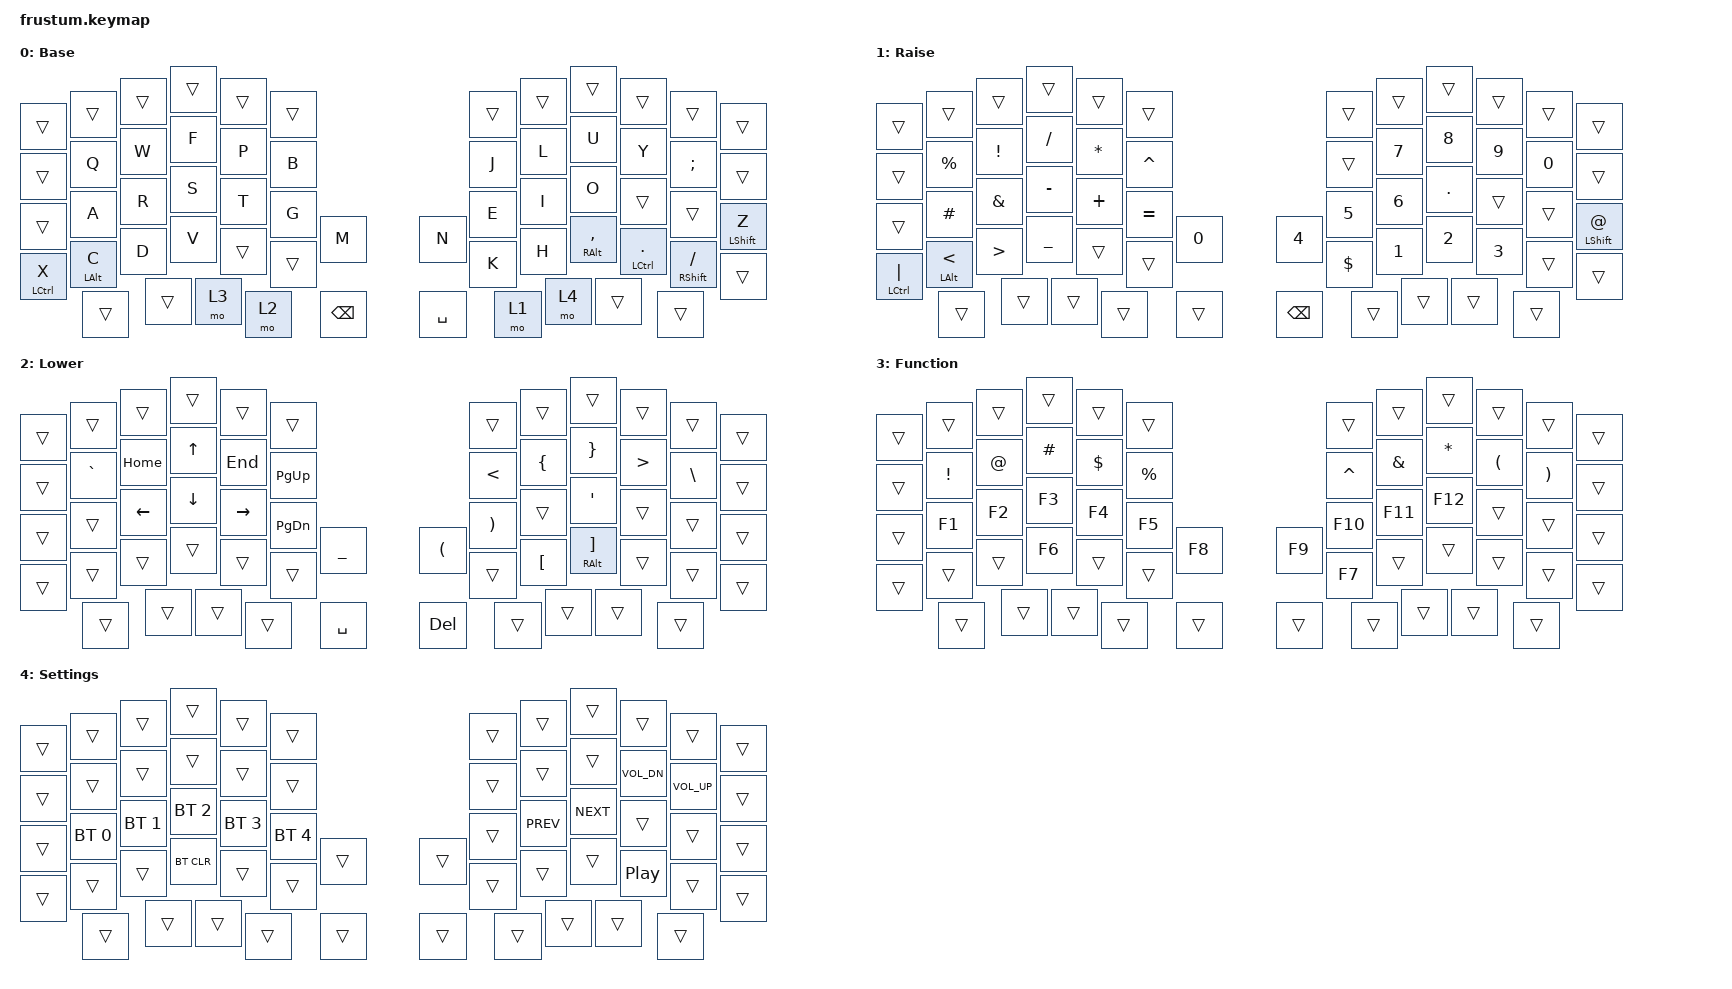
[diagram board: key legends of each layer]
/*
 * Copyright (c) 2020 The ZMK Contributors
 *
 * SPDX-License-Identifier: MIT
 */

#include <behaviors.dtsi>
#include <dt-bindings/zmk/keys.h>
#include <dt-bindings/zmk/bt.h>
#include <dt-bindings/zmk/ext_power.h>

/ {
    combos {
    compatible = "zmk,combos";

    combo_esc {
            timeout-ms = <50>;
            key-positions = <14 15>;
            bindings = <&kp ESC>;
        };
    combo_enter {
            timeout-ms = <50>;
            key-positions = <31 32 33>;
            bindings = <&kp ENTER>;
        };
    combo_tab {
            timeout-ms = <50>;
            key-positions = <26 27>;
            bindings = <&kp TAB>;
        };
    combo_gui {
            timeout-ms = <50>;
            key-positions = < 19 20 21>;
            bindings = <&kp LGUI>;
        };
    combo_guileft {
            timeout-ms = <50>;
            key-positions = < 38 39 40>;
            bindings = <&kp LGUI>;
        };
    };
    keymap {
        compatible = "zmk,keymap";

        base {
            label = "BASE";
            display-name = "Base";

// ------------------------------------------------------------------------------------------------------------
// |       |     |     |      |      |      |                   |      |       |       |      |       |       |
// |       |  Q  |  W  |  F   |  P   |  B   |                   |  J   |  L    |  U    |  Y   |   ;   |       |
// |       |  A  |  R  |  S   |  T   |  G   |                   |  M   |  N    |  E    |  I   |   O   |       | < broken (last key)
// |       |  Z  |  X  |  C   |  D   |  V   |        |  |       |  K   |  H    |  ,    |  .   |   /   |       | < broken (last key)
//         |     |     |      | FUN  | LOWER|  SPACE |  | BSPC  | RAISE| SETT  |       |      |       |
            bindings = <
&trans     &trans       &trans       &trans      &trans      &trans                           &trans &trans    &trans         &trans         &trans           &trans 
&trans     &kp Q        &kp W        &kp F       &kp P       &kp B                            &kp J  &kp L     &kp U          &kp Y          &kp SEMI         &trans
&trans     &kp A        &kp R        &kp S       &kp T       &kp G                            &kp M  &kp N     &kp E          &kp I          &kp O            &trans
&trans     &mt LSHIFT Z &mt LCTRL X  &mt LALT C  &kp D       &kp V      &trans      &trans    &kp K  &kp H     &mt RALT COMMA &mt LCTRL DOT  &mt RSHIFT FSLH  &trans
           &trans       &trans                   &mo 3       &mo 2      &kp BSPC    &kp SPACE &mo 1  &mo 4                    &trans         &trans
            >;
        };

        raise_layer {
            label = "RAI";
            display-name = "Raise";
// ------------------------------------------------------------------------------------------------------------
// |       |     |     |      |      |      |                   |      |       |       |      |       |       |
// |       | %   | !   |  /   |  *   | ^    |                   |      |   7   |   8   |   9  |   0   |       |
// |       |  #  |  &  | -    |  +   | =    |                   |  0   |   4   |   5   |   6  |   .   |       |
// |       |  @  |  |  |   <  |  >   |   _  |        |  |       |  $   |   1   |   2   |   3  |       |       |
//         |     |     |      |      |      |        |  |       |      |       |       |      |       |
            bindings = <
&trans &trans        &trans         &trans      &trans       &trans                           &trans    &trans   &trans        &trans         &trans  &trans
&trans &kp PRCNT     &kp EXCL       &kp FSLH    &kp STAR     &kp CARET                        &trans    &kp N7   &kp N8        &kp N9         &kp N0  &trans
&trans &kp HASH      &kp AMPS       &kp MINUS   &kp PLUS     &kp EQUAL                        &kp N0    &kp N4   &kp N5        &kp N6         &kp DOT &trans
&trans &mt LSHIFT AT &mt LCTRL PIPE &mt LALT LT &kp GT       &kp UNDER     &trans    &trans   &kp DLLR  &kp N1   &kp N2        &kp N3         &trans  &trans
       &trans        &trans                     &trans       &trans        &trans    &kp BSPC &trans    &trans                 &trans         &trans
            >;
        };

        lower_layer {
            label = "LOW";
            display-name = "Lower";
// ------------------------------------------------------------------------------------------------------------
// |       |     |     |      |      |      |                   |      |       |       |      |       |       |
// |       |  `  |HOME |  UP  | END  | PGUP |                   | "<"  |  "{"  |  "}"  |   ">"|   \   |       |
// |       |     |LEFT |DOWN  | RIGHT| PGDN |                   |  _   |  "("  |  ")"  |      |   '   |       |
// |       |     |     |      |      |      |        |  |       |      |  "["  |  "]"  |      |       |       |
//         |     |     |      |      |      |        |  |  DEL  |      |       |       |      |       |
            bindings = < 
&trans &trans     &trans     &trans   &trans       &trans                            &trans     &trans    &trans         &trans    &trans   &trans
&trans &kp GRAVE  &kp HOME   &kp UP   &kp END      &kp PG_UP                         &kp LT     &kp LBRC  &kp RBRC       &kp GT    &kp BSLH &trans
&trans &trans     &kp LEFT   &kp DOWN &kp RIGHT    &kp PG_DN                         &kp UNDER  &kp LPAR  &kp RPAR       &trans    &kp APOS &trans
&trans &trans     &trans     &trans   &trans       &trans        &trans    &trans    &trans     &kp LBKT  &mt RALT RBKT  &trans    &trans   &trans
       &trans     &trans              &trans       &trans        &kp SPACE &kp DEL   &trans     &trans                   &trans    &trans
            >;
        };

        function_layer {
            label = "FNC";
            display-name = "Function";
// ------------------------------------------------------------------------------------------------------------
// |       |     |     |      |      |      |                   |      |       |       |      |       |       |
// |       |  !  |  @  |   #  |   $  |   %  |                   | ^    |  &    |   *   | "("  |  ")"  |       |
// |       |  F1 |  F2 |   F3 |  F4  |   F5 |                   |F8    | F9    |  F10  | F11  | F12   |       |
// |       |     |     |      |      |   F6 |        |  |       | F7   |       |       |      |       |       |
//         |     |     |      |      |      |        |  |       |      |       |       |      |       |
            bindings = <
&trans &trans     &trans       &trans   &trans       &trans                         &trans    &trans    &trans    &trans    &trans    &trans
&trans &kp EXCL   &kp AT       &kp HASH &kp DLLR     &kp PRCNT                      &kp CARET &kp AMPS  &kp STAR  &kp LPAR  &kp RPAR  &trans
&trans &kp F1     &kp F2       &kp F3   &kp F4       &kp F5                         &kp F8    &kp F9    &kp F10   &kp F11   &kp F12   &trans
&trans &trans     &trans       &trans   &trans       &kp F6        &trans    &trans &kp F7    &trans    &trans    &trans    &trans    &trans
       &trans     &trans                &trans       &trans        &trans    &trans &trans    &trans              &trans    &trans
            >;
        };

        settings {
            label = "SET";
            display-name = "Settings";
// ------------------------------------------------------------------------------------------------------------
// |       |     |     |      |      |      |                   |      |       |       |      |       |       |
// |       |     |     |      |      |      |                   |      |       |       |  VDN |  VUP  |       |
// |       | BT1 | BT2 | BT3  | BT4  | BT5  |                   |      |       |       |   PRE|   NEX |       |    
// |       |     |     |      |      | CLR  |        |  |       |      |       |       |  PP  |       |       |
//         |     |     |      |      |      |        |  |       |      |       |       |      |       |
            bindings = <
&trans &trans       &trans       &trans        &trans       &trans                            &trans &trans   &trans       &trans          &trans       &trans
&trans &trans       &trans       &trans        &trans       &trans                            &trans &trans   &trans       &kp C_VOL_DN    &kp C_VOL_UP &trans
&trans &bt BT_SEL 0 &bt BT_SEL 1 &bt BT_SEL 2  &bt BT_SEL 3 &bt BT_SEL 4                      &trans &trans   &trans       &kp C_PREV      &kp C_NEXT   &trans
&trans &trans       &trans       &trans        &trans       &bt BT_CLR   &trans        &trans &trans &trans   &trans       &kp C_PP        &trans         &trans
       &trans       &trans                     &trans       &trans       &trans        &trans &trans &trans                &trans          &trans
            >;
        };
    };
};
